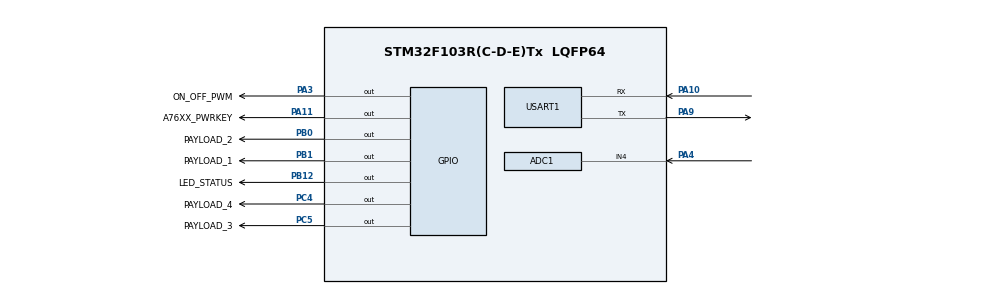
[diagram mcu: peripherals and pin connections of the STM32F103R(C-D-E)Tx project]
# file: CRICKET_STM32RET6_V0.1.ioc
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ADC1.Channel-0\#ChannelRegularConversion=ADC_CHANNEL_4
ADC1.ContinuousConvMode=ENABLE
ADC1.NbrOfConversionFlag=1
ADC1.Rank-0\#ChannelRegularConversion=1
ADC1.SamplingTime-0\#ChannelRegularConversion=ADC_SAMPLETIME_1CYCLE_5
ADC1.master=1
IWDG.Prescaler=IWDG_PRESCALER_256
Mcu.Family=STM32F1
Mcu.Name=STM32F103R(C-D-E)Tx
Mcu.Package=LQFP64
NVIC.PriorityGroup=NVIC_PRIORITYGROUP_4
NVIC.TIM6_IRQn=true\:2\:0\:true\:false\:true\:true\:true\:true
NVIC.USART1_IRQn=true\:1\:0\:true\:false\:true\:true\:true\:true
PA10.Mode=Asynchronous
PA10.Signal=USART1_RX
PA11.GPIO_Label=A76XX_PWRKEY
PA11.Signal=GPIO_Output
PA13.Mode=Trace_Asynchronous_SW
PA13.Signal=SYS_JTMS-SWDIO
PA14.Mode=Trace_Asynchronous_SW
PA14.Signal=SYS_JTCK-SWCLK
PA3.GPIO_Label=ON_OFF_PWM
PA3.Signal=GPIO_Output
PA4.Signal=ADCx_IN4
PA9.Mode=Asynchronous
PA9.Signal=USART1_TX
PB0.GPIO_Label=PAYLOAD_2
PB0.Signal=GPIO_Output
PB1.GPIO_Label=PAYLOAD_1
PB1.Signal=GPIO_Output
PB12.GPIO_Label=LED_STATUS
PB12.Signal=GPIO_Output
PB3.Mode=Trace_Asynchronous_SW
PB3.Signal=SYS_JTDO-TRACESWO
PC4.GPIO_Label=PAYLOAD_4
PC4.Signal=GPIO_Output
PC5.GPIO_Label=PAYLOAD_3
PC5.Signal=GPIO_Output
PD0-OSC_IN.Mode=HSE-External-Oscillator
PD0-OSC_IN.Signal=RCC_OSC_IN
PD1-OSC_OUT.Mode=HSE-External-Oscillator
PD1-OSC_OUT.Signal=RCC_OSC_OUT
ProjectManager.HeapSize=0x200
ProjectManager.StackSize=0x400
ProjectManager.TargetToolchain=STM32CubeIDE
RCC.APB1Freq_Value=8000000
RCC.APB1TimFreq_Value=8000000
RCC.APB2Freq_Value=8000000
SH.ADCx_IN4.0=ADC1_IN4,IN4
TIM6.Period=1999
TIM6.Prescaler=19999
USART1.VirtualMode=VM_ASYNC
VP_IWDG_VS_IWDG.Mode=IWDG_Activate
VP_TIM6_VS_ClockSourceINT.Mode=Enable_Timer
board=custom

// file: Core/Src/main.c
/* USER CODE BEGIN Header */
/**
 ******************************************************************************
 * @file           : main.c
 * @brief          : Main program body
 ******************************************************************************
 * @attention
 *
 * Copyright (c) 2024 STMicroelectronics.
 * All rights reserved.
 *
 * This software is licensed under terms that can be found in the LICENSE file
 * in the root directory of this software component.
 * If no LICENSE file comes with this software, it is provided AS-IS.
 *
 ******************************************************************************
 */
/* USER CODE END Header */
#include "main.h"

/* USER CODE BEGIN Includes */
#include "cJSON.h"
#include "config.h"
#include "stdbool.h"
#include "stdio.h"
#include "stdlib.h"
#include "string.h"
#include <math.h>

/* USER CODE END Includes */

/* USER CODE BEGIN PD */
int _write(int file, char *ptr, int len) {

  int i;
  for (i = 0; i < len; i++) {
    ITM_SendChar(*ptr++);
  }
  return len;
}

/* USER CODE END PD */

ADC_HandleTypeDef hadc1;

IWDG_HandleTypeDef hiwdg;

TIM_HandleTypeDef htim6;

UART_HandleTypeDef huart1;

/* USER CODE BEGIN PV */
GPIO_TypeDef *GPIO_LOAD_PORT[4] = {PAYLOAD_1_GPIO_Port, PAYLOAD_2_GPIO_Port, PAYLOAD_3_GPIO_Port, PAYLOAD_4_GPIO_Port};
unsigned int GPIO_LOAD_PIN[4] = {PAYLOAD_1_Pin, PAYLOAD_2_Pin, PAYLOAD_3_Pin, PAYLOAD_4_Pin};

char AT_COMMAND[100];
float SignalStrength = 0;
int update_10_minute;
int onReay = 0;
int rssi = -99;

int timeOutConnectMQTT = 15000;
int isPBDONE = 0;
int payLoadPin, payLoadStatus;

char rxBuffer[150];
char rx_data_sim[150];
int previousTick;
int isConnectSimcomA76xx = 0;
int isConnectMQTT = 0;
float Data_Percentage_pin;
int update_status_to_server;

bool fn_Enable_MQTT = false;
bool fn_Connect_MQTT = false;
bool fn_CheckSim = false;
bool fn_Subcribe_MQTT = false;
bool fn_Publish_MQTT = false;
bool fn_Acquier_MQTT = false;
bool fn_update_status = false;

uint32_t address = 0x0801FC00;
uint32_t data = 0x01;
uint32_t read_data = 3;
uint32_t value_page[4];
// char rxBuffer[50];
/* USER CODE END PV */

void SystemClock_Config(void);
static void MX_GPIO_Init(void);
static void MX_ADC1_Init(void);
static void MX_USART1_UART_Init(void);
static void MX_TIM6_Init(void);
static void MX_IWDG_Init(void);
/* USER CODE BEGIN PFP */
void turnOnA76XX(void); // reset module sim A76XX
void processPayload(void);
int connectSimcomA76xx();
int connectMQTT();
void sendingToSimcomA76xx(char *cmd);
void ledStatus(char cmd);
int sendStatusPayloadToMQTT(void);
void informPayloadToServer(void);

/* USER CODE END PFP */

/* USER CODE BEGIN 0 */
void HAL_TIM_PeriodElapsedCallback(TIM_HandleTypeDef *htim) {
  if (htim->Instance == htim6.Instance) {
    if (isConnectMQTT) {
      update_status_to_server = 1;
      update_10_minute++;
    }
    IWDG->KR = 0xAAAA;
  }
  HAL_TIM_Base_Start_IT(&htim6);
}
/* USER CODE END 0 */

int main(void) {

  /* MCU Configuration--------------------------------------------------------*/

  /* Reset of all peripherals, Initializes the Flash interface and the Systick. */
  HAL_Init();

  /* Configure the system clock */
  SystemClock_Config();

  /* Initialize all configured peripherals */
  MX_GPIO_Init();
  MX_ADC1_Init();
  MX_USART1_UART_Init();
  MX_TIM6_Init();
  MX_IWDG_Init();
  /* USER CODE BEGIN 2 */

  printf("-----Welcome to Agriconnect-----\n");
  printf("-----Hello Cricket-----\n");
  init_flash();
  read_flash_payload();
  HAL_UARTEx_ReceiveToIdle_IT(&huart1, (uint8_t *)rxBuffer, 150);
  HAL_TIM_Base_Start_IT(&htim6);
  turnOnA76XX();
  isPBDONE = event_wait_function();

  /* USER CODE END 2 */

  /* Infinite loop */
  while (1) {

    /* USER CODE BEGIN 3 */

    if (!isConnectMQTT) {
      isConnectMQTT = init_cricket();
    }
    if (update_status_to_server == 1) {
      fn_update_status = update_status();
      update_status_to_server = 0;
    }
    if (update_10_minute >= 3) {
      Data_Percentage_pin = Level_Pin();
      rssi = read_signal_quality();
      // read_statusload();
      update_10_minute = 0;
    }
  }
  /* USER CODE END 3 */
}

void SystemClock_Config(void) {
  RCC_OscInitTypeDef RCC_OscInitStruct = {0};
  RCC_ClkInitTypeDef RCC_ClkInitStruct = {0};
  RCC_PeriphCLKInitTypeDef PeriphClkInit = {0};

  /** Initializes the RCC Oscillators according to the specified parameters
   * in the RCC_OscInitTypeDef structure.
   */
  RCC_OscInitStruct.OscillatorType = RCC_OSCILLATORTYPE_HSI | RCC_OSCILLATORTYPE_LSI;
  RCC_OscInitStruct.HSIState = RCC_HSI_ON;
  RCC_OscInitStruct.HSICalibrationValue = RCC_HSICALIBRATION_DEFAULT;
  RCC_OscInitStruct.LSIState = RCC_LSI_ON;
  RCC_OscInitStruct.PLL.PLLState = RCC_PLL_NONE;
  if (HAL_RCC_OscConfig(&RCC_OscInitStruct) != HAL_OK) {
    Error_Handler();
  }

  /** Initializes the CPU, AHB and APB buses clocks
   */
  RCC_ClkInitStruct.ClockType = RCC_CLOCKTYPE_HCLK | RCC_CLOCKTYPE_SYSCLK | RCC_CLOCKTYPE_PCLK1 | RCC_CLOCKTYPE_PCLK2;
  RCC_ClkInitStruct.SYSCLKSource = RCC_SYSCLKSOURCE_HSI;
  RCC_ClkInitStruct.AHBCLKDivider = RCC_SYSCLK_DIV1;
  RCC_ClkInitStruct.APB1CLKDivider = RCC_HCLK_DIV1;
  RCC_ClkInitStruct.APB2CLKDivider = RCC_HCLK_DIV1;

  if (HAL_RCC_ClockConfig(&RCC_ClkInitStruct, FLASH_LATENCY_0) != HAL_OK) {
    Error_Handler();
  }
  PeriphClkInit.PeriphClockSelection = RCC_PERIPHCLK_ADC;
  PeriphClkInit.AdcClockSelection = RCC_ADCPCLK2_DIV2;
  if (HAL_RCCEx_PeriphCLKConfig(&PeriphClkInit) != HAL_OK) {
    Error_Handler();
  }
}

static void MX_ADC1_Init(void) {

  ADC_ChannelConfTypeDef sConfig = {0};

  /** Common config
   */
  hadc1.Instance = ADC1;
  hadc1.Init.ScanConvMode = ADC_SCAN_DISABLE;
  hadc1.Init.ContinuousConvMode = ENABLE;
  hadc1.Init.DiscontinuousConvMode = DISABLE;
  hadc1.Init.ExternalTrigConv = ADC_SOFTWARE_START;
  hadc1.Init.DataAlign = ADC_DATAALIGN_RIGHT;
  hadc1.Init.NbrOfConversion = 1;
  if (HAL_ADC_Init(&hadc1) != HAL_OK) {
    Error_Handler();
  }

  /** Configure Regular Channel
   */
  sConfig.Channel = ADC_CHANNEL_4;
  sConfig.Rank = ADC_REGULAR_RANK_1;
  sConfig.SamplingTime = ADC_SAMPLETIME_1CYCLE_5;
  if (HAL_ADC_ConfigChannel(&hadc1, &sConfig) != HAL_OK) {
    Error_Handler();
  }
}

static void MX_IWDG_Init(void) {

  hiwdg.Instance = IWDG;
  hiwdg.Init.Prescaler = IWDG_PRESCALER_256;
  hiwdg.Init.Reload = 4095;
  if (HAL_IWDG_Init(&hiwdg) != HAL_OK) {
    Error_Handler();
  }
}

static void MX_TIM6_Init(void) {

  TIM_MasterConfigTypeDef sMasterConfig = {0};

  htim6.Instance = TIM6;
  htim6.Init.Prescaler = 19999;
  htim6.Init.CounterMode = TIM_COUNTERMODE_UP;
  htim6.Init.Period = 1999;
  htim6.Init.AutoReloadPreload = TIM_AUTORELOAD_PRELOAD_DISABLE;
  if (HAL_TIM_Base_Init(&htim6) != HAL_OK) {
    Error_Handler();
  }
  sMasterConfig.MasterOutputTrigger = TIM_TRGO_RESET;
  sMasterConfig.MasterSlaveMode = TIM_MASTERSLAVEMODE_DISABLE;
  if (HAL_TIMEx_MasterConfigSynchronization(&htim6, &sMasterConfig) != HAL_OK) {
    Error_Handler();
  }
}

static void MX_USART1_UART_Init(void) {

  huart1.Instance = USART1;
  huart1.Init.BaudRate = 115200;
  huart1.Init.WordLength = UART_WORDLENGTH_8B;
  huart1.Init.StopBits = UART_STOPBITS_1;
  huart1.Init.Parity = UART_PARITY_NONE;
  huart1.Init.Mode = UART_MODE_TX_RX;
  huart1.Init.HwFlowCtl = UART_HWCONTROL_NONE;
  huart1.Init.OverSampling = UART_OVERSAMPLING_16;
  if (HAL_UART_Init(&huart1) != HAL_OK) {
    Error_Handler();
  }
}

static void MX_GPIO_Init(void) {
  GPIO_InitTypeDef GPIO_InitStruct = {0};

  /* GPIO Ports Clock Enable */
  __HAL_RCC_GPIOD_CLK_ENABLE();
  __HAL_RCC_GPIOA_CLK_ENABLE();
  __HAL_RCC_GPIOC_CLK_ENABLE();
  __HAL_RCC_GPIOB_CLK_ENABLE();

  /*Configure GPIO pin Output Level */
  HAL_GPIO_WritePin(GPIOA, ON_OFF_PWM_Pin | A76XX_PWRKEY_Pin, GPIO_PIN_RESET);

  /*Configure GPIO pin Output Level */
  HAL_GPIO_WritePin(GPIOC, PAYLOAD_4_Pin | PAYLOAD_3_Pin, GPIO_PIN_RESET);

  /*Configure GPIO pin Output Level */
  HAL_GPIO_WritePin(GPIOB, PAYLOAD_2_Pin | PAYLOAD_1_Pin | LED_STATUS_Pin, GPIO_PIN_RESET);

  /*Configure GPIO pins : ON_OFF_PWM_Pin A76XX_PWRKEY_Pin */
  GPIO_InitStruct.Pin = ON_OFF_PWM_Pin | A76XX_PWRKEY_Pin;
  GPIO_InitStruct.Mode = GPIO_MODE_OUTPUT_PP;
  GPIO_InitStruct.Pull = GPIO_NOPULL;
  GPIO_InitStruct.Speed = GPIO_SPEED_FREQ_LOW;
  HAL_GPIO_Init(GPIOA, &GPIO_InitStruct);

  /*Configure GPIO pins : PAYLOAD_4_Pin PAYLOAD_3_Pin */
  GPIO_InitStruct.Pin = PAYLOAD_4_Pin | PAYLOAD_3_Pin;
  GPIO_InitStruct.Mode = GPIO_MODE_OUTPUT_PP;
  GPIO_InitStruct.Pull = GPIO_NOPULL;
  GPIO_InitStruct.Speed = GPIO_SPEED_FREQ_LOW;
  HAL_GPIO_Init(GPIOC, &GPIO_InitStruct);

  /*Configure GPIO pins : PAYLOAD_2_Pin PAYLOAD_1_Pin LED_STATUS_Pin */
  GPIO_InitStruct.Pin = PAYLOAD_2_Pin | PAYLOAD_1_Pin | LED_STATUS_Pin;
  GPIO_InitStruct.Mode = GPIO_MODE_OUTPUT_PP;
  GPIO_InitStruct.Pull = GPIO_NOPULL;
  GPIO_InitStruct.Speed = GPIO_SPEED_FREQ_LOW;
  HAL_GPIO_Init(GPIOB, &GPIO_InitStruct);

}

/* USER CODE BEGIN 4 */
void turnOnA76XX(void) {
  printf("Enable SIMCOM\n");
  HAL_GPIO_WritePin(A76XX_PWRKEY_GPIO_Port, A76XX_PWRKEY_Pin, SET);
  HAL_Delay(3000);
  HAL_GPIO_WritePin(A76XX_PWRKEY_GPIO_Port, A76XX_PWRKEY_Pin, RESET);
  HAL_Delay(3000);
  HAL_GPIO_WritePin(A76XX_PWRKEY_GPIO_Port, A76XX_PWRKEY_Pin, SET);
  HAL_Delay(200);
  HAL_GPIO_WritePin(A76XX_PWRKEY_GPIO_Port, A76XX_PWRKEY_Pin, RESET);
  HAL_Delay(1000);
}
/* USER CODE END 4 */

void Error_Handler(void) {
  __disable_irq();
  while (1) {
  }
}

#ifdef USE_FULL_ASSERT
/**
 * @brief  Reports the name of the source file and the source line number
 *         where the assert_param error has occurred.
 * @param  file: pointer to the source file name
 * @param  line: assert_param error line source number
 * @retval None
 */
void assert_failed(uint8_t *file, uint32_t line) {
  /* USER CODE BEGIN 6 */
  /* User can add his own implementation to report the file name and line
     number, ex: printf("Wrong parameters value: file %s on line %d\r\n", file,
     line) */
  /* USER CODE END 6 */
}
#endif /* USE_FULL_ASSERT */
